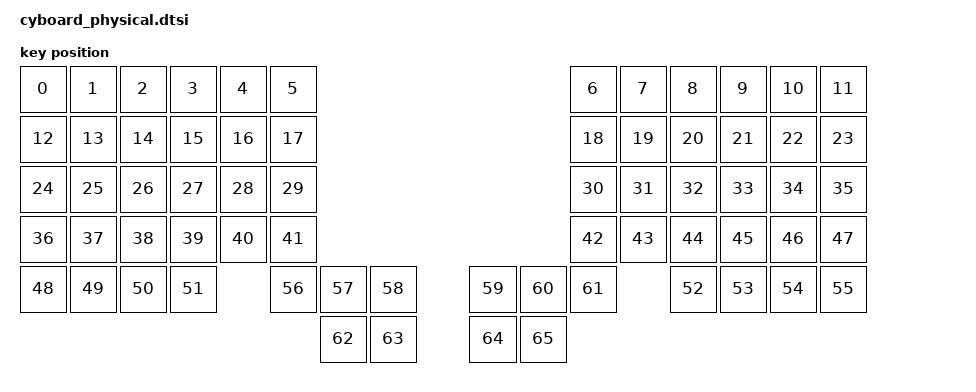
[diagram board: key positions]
#include <physical_layouts.dtsi>

/ {
    dactyl_layout: dactyl_layout {
        compatible = "zmk,physical-layout";
        display-name = "LAYOUT";

        kscan = <&kscan0>;
        transform = <&matrix_transform0>;

        keys  //                     w   h    x    y     rot    rx    ry
            = <&key_physical_attrs 100 100    0    0       0     0     0>
            , <&key_physical_attrs 100 100  100    0       0     0     0>
            , <&key_physical_attrs 100 100  200    0       0     0     0>
            , <&key_physical_attrs 100 100  300    0       0     0     0>
            , <&key_physical_attrs 100 100  400    0       0     0     0>
            , <&key_physical_attrs 100 100  500    0       0     0     0>
            , <&key_physical_attrs 100 100 1100    0       0     0     0>
            , <&key_physical_attrs 100 100 1200    0       0     0     0>
            , <&key_physical_attrs 100 100 1300    0       0     0     0>
            , <&key_physical_attrs 100 100 1400    0       0     0     0>
            , <&key_physical_attrs 100 100 1500    0       0     0     0>
            , <&key_physical_attrs 100 100 1600    0       0     0     0>
            , <&key_physical_attrs 100 100    0  100       0     0     0>
            , <&key_physical_attrs 100 100  100  100       0     0     0>
            , <&key_physical_attrs 100 100  200  100       0     0     0>
            , <&key_physical_attrs 100 100  300  100       0     0     0>
            , <&key_physical_attrs 100 100  400  100       0     0     0>
            , <&key_physical_attrs 100 100  500  100       0     0     0>
            , <&key_physical_attrs 100 100 1100  100       0     0     0>
            , <&key_physical_attrs 100 100 1200  100       0     0     0>
            , <&key_physical_attrs 100 100 1300  100       0     0     0>
            , <&key_physical_attrs 100 100 1400  100       0     0     0>
            , <&key_physical_attrs 100 100 1500  100       0     0     0>
            , <&key_physical_attrs 100 100 1600  100       0     0     0>
            , <&key_physical_attrs 100 100    0  200       0     0     0>
            , <&key_physical_attrs 100 100  100  200       0     0     0>
            , <&key_physical_attrs 100 100  200  200       0     0     0>
            , <&key_physical_attrs 100 100  300  200       0     0     0>
            , <&key_physical_attrs 100 100  400  200       0     0     0>
            , <&key_physical_attrs 100 100  500  200       0     0     0>
            , <&key_physical_attrs 100 100 1100  200       0     0     0>
            , <&key_physical_attrs 100 100 1200  200       0     0     0>
            , <&key_physical_attrs 100 100 1300  200       0     0     0>
            , <&key_physical_attrs 100 100 1400  200       0     0     0>
            , <&key_physical_attrs 100 100 1500  200       0     0     0>
            , <&key_physical_attrs 100 100 1600  200       0     0     0>
            , <&key_physical_attrs 100 100    0  300       0     0     0>
            , <&key_physical_attrs 100 100  100  300       0     0     0>
            , <&key_physical_attrs 100 100  200  300       0     0     0>
            , <&key_physical_attrs 100 100  300  300       0     0     0>
            , <&key_physical_attrs 100 100  400  300       0     0     0>
            , <&key_physical_attrs 100 100  500  300       0     0     0>
            , <&key_physical_attrs 100 100 1100  300       0     0     0>
            , <&key_physical_attrs 100 100 1200  300       0     0     0>
            , <&key_physical_attrs 100 100 1300  300       0     0     0>
            , <&key_physical_attrs 100 100 1400  300       0     0     0>
            , <&key_physical_attrs 100 100 1500  300       0     0     0>
            , <&key_physical_attrs 100 100 1600  300       0     0     0>
            , <&key_physical_attrs 100 100    0  400       0     0     0>
            , <&key_physical_attrs 100 100  100  400       0     0     0>
            , <&key_physical_attrs 100 100  200  400       0     0     0>
            , <&key_physical_attrs 100 100  300  400       0     0     0>
            , <&key_physical_attrs 100 100 1300  400       0     0     0>
            , <&key_physical_attrs 100 100 1400  400       0     0     0>
            , <&key_physical_attrs 100 100 1500  400       0     0     0>
            , <&key_physical_attrs 100 100 1600  400       0     0     0>
            , <&key_physical_attrs 100 100  500  400       0     0     0>
            , <&key_physical_attrs 100 100  600  400       0     0     0>
            , <&key_physical_attrs 100 100  700  400       0     0     0>
            , <&key_physical_attrs 100 100  900  400       0     0     0>
            , <&key_physical_attrs 100 100 1000  400       0     0     0>
            , <&key_physical_attrs 100 100 1100  400       0     0     0>
            , <&key_physical_attrs 100 100  600  500       0     0     0>
            , <&key_physical_attrs 100 100  700  500       0     0     0>
            , <&key_physical_attrs 100 100  900  500       0     0     0>
            , <&key_physical_attrs 100 100 1000  500       0     0     0>
            ;
    };
};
